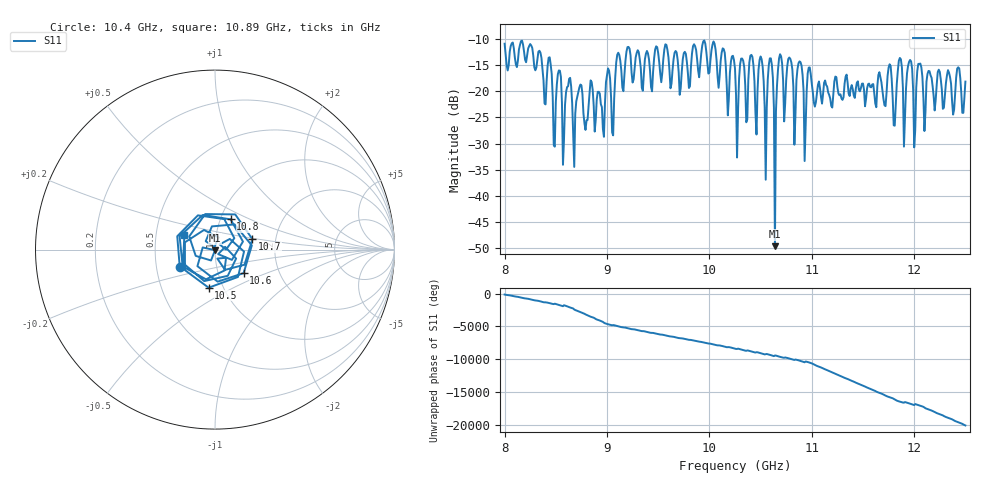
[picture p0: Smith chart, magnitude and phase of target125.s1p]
#  HZ  S  RI  R  50.00
! Rohde & Schwarz Vector Network Analyzer
! Rohde-Schwarz,ZNA43-4Port,1332450044101932,2.92
! Created: UTC 6/9/2026, 6:46:49 AM
! freq[Hz]  re:S11  im:S11
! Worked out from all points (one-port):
!   451 points, 8 GHz to 12.5 GHz, reference 50 ohm
!   lowest |S11| = -49.6 dB at 10.64 GHz (marker M1), VSWR 1.01, Z = 50 - j0.331 ohm
!   |S11| at or under -10 dB: start of sweep to end of sweep
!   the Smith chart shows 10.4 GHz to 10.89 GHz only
!   S11 on the Smith chart (normalised r, x): 10.4 GHz: 0.66, -0.13; 10.5 GHz: 0.85, -0.38; 10.6 GHz: 1.32, -0.36; 10.7 GHz: 1.51, +0.18; 10.8 GHz: 1.12, +0.39; 10.89 GHz: 0.70, +0.12
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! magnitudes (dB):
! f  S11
! 8 GHz  -10.9
! 8.44 GHz  -13.5
! 8.57 GHz  -34.0
! 8.63 GHz  -17.6
! 8.68 GHz  -34.5
! 8.74 GHz  -18.7
! 8.96 GHz  -27.2
! 9.01 GHz  -15.6
! 9.06 GHz  -28.4
! 9.13 GHz  -14.2
! 9.69 GHz  -14.0
! 10.04 GHz  -10.5
! 10.25 GHz  -15.7
! 10.4 GHz  -13.2
! 10.46 GHz  -28.3
! 10.5 GHz  -13.3
! 10.55 GHz  -36.9
! 10.6 GHz  -13.7
! 10.64 GHz  -49.6
! 10.7 GHz  -13.3
! 10.8 GHz  -14.4
! 10.82 GHz  -19.2
! 10.89 GHz  -14.4
! 10.93 GHz  -33.3
! 10.98 GHz  -15.4
! 11.38 GHz  -19.4
! 11.94 GHz  -15.2
! 12.5 GHz  -18.1
